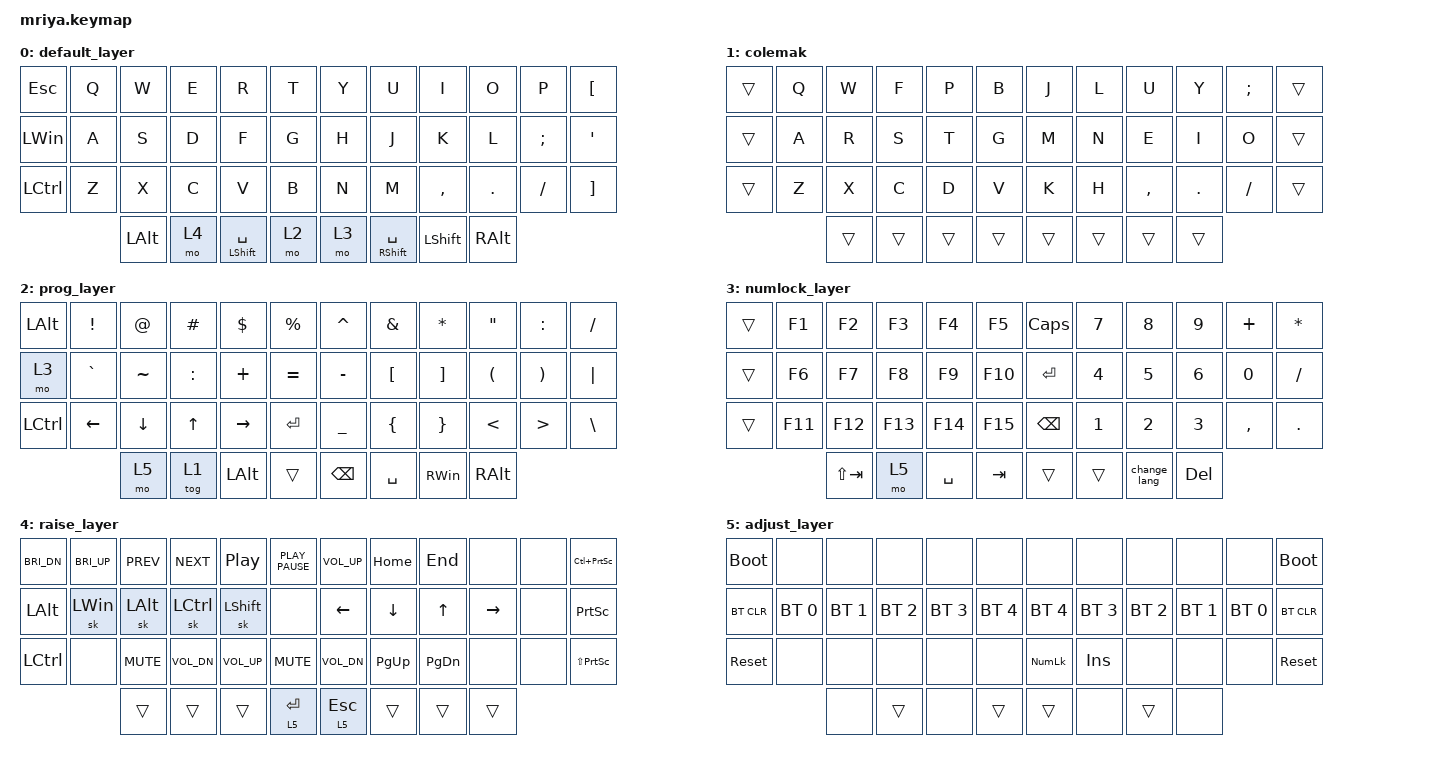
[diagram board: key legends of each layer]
/*
 * Copyright (c) 2023 Andrei Gaevskii
 *
 * SPDX-License-Identifier: MIT
 */

#include <behaviors.dtsi>
#include <dt-bindings/zmk/bt.h>
#include <dt-bindings/zmk/keys.h>

#define DEF 0
#define LWR 1
#define RSE 2
#define ADJ 3

&lt { quick_tap_ms = <200>; };

&mt { quick_tap_ms = <210>; };

/ {
    combos {
        compatible = "zmk,combos";

        lang_right {
            bindings = <&ch_lang_mac>;
            key-positions = <31 30>;
        };

        lang_left {
            bindings = <&ch_lang_mac>;
            key-positions = <28 29>;
        };

        enter_left {
            bindings = <&kp ENTER>;
            key-positions = <15 17>;
        };

        enter_right {
            bindings = <&kp ENTER>;
            key-positions = <20 18>;
        };

        undo {
            bindings = <&kp LG(Z)>;
            key-positions = <28 31>;
        };

        backspace_right {
            bindings = <&kp BACKSPACE>;
            key-positions = <26 27>;
        };

        redo {
            bindings = <&kp LG(LS(Z))>;
            key-positions = <27 32>;
        };

        delete_right {
            bindings = <&kp DELETE>;
            key-positions = <32 33>;
        };

        sk_shift {
            bindings = <&sk LEFT_SHIFT>;
            key-positions = <16 19>;
        };

        tab {
            bindings = <&kp TAB>;
            key-positions = <3 5>;
        };

        shift_tab {
            bindings = <&kp LS(TAB)>;
            key-positions = <2 4>;
        };

        win_change_lang {
            bindings = <&change_lang>;
            key-positions = <29 30>;
        };
    };

    macros {
        change_lang: change_lang {
            compatible = "zmk,behavior-macro";
            #binding-cells = <0>;
            bindings = <&kt LEFT_ALT &kp LEFT_SHIFT &kt LEFT_ALT &tog 1>;
            label = "CHANGE_LANG";
        };

        arrow_left: arrow_left {
            compatible = "zmk,behavior-macro";
            #binding-cells = <0>;
            bindings = <&kp LESS_THAN &kp MINUS>;
            label = "ARROW_LEFT";
        };

        arrow_right: arrow_right {
            compatible = "zmk,behavior-macro";
            #binding-cells = <0>;
            bindings = <&kp MINUS &kp GREATER_THAN>;
            label = "ARROW_RIGHT";
        };

        ch_lang_mac: ch_lang_mac {
            compatible = "zmk,behavior-macro";
            #binding-cells = <0>;
            bindings = <&kt LCTRL &kt LEFT_ALT &kp SPACE &kt LCTRL &kt LEFT_ALT &tog 1>;
            label = "CH_LANG_MAC";
        };
    };

    keymap {
        compatible = "zmk,keymap";

        default_layer {
            bindings = <
  &kp ESCAPE    &kp Q  &kp W         &kp E  &kp R             &kp T    &kp Y  &kp U             &kp I           &kp O          &kp P     &kp LBKT
  &kp LEFT_WIN  &kp A  &kp S         &kp D  &kp F             &kp G    &kp H  &kp J             &kp K           &kp L          &kp SEMI  &kp SQT
  &kp LCTRL     &kp Z  &kp X         &kp C  &kp V             &kp B    &kp N  &kp M             &kp COMMA       &kp DOT        &kp FSLH  &kp RIGHT_BRACKET
                       &kp LEFT_ALT  &mo 4  &mt LSHIFT SPACE  &mo 2    &mo 3  &mt RSHIFT SPACE  &kp LEFT_SHIFT  &kp RIGHT_ALT
            >;
        };

        colemak {
            bindings = <
  &trans  &kp Q  &kp W   &kp F   &kp P   &kp B     &kp J   &kp L   &kp U      &kp Y       &kp SEMICOLON  &trans
  &trans  &kp A  &kp R   &kp S   &kp T   &kp G     &kp M   &kp N   &kp E      &kp I       &kp O          &trans
  &trans  &kp Z  &kp X   &kp C   &kp D   &kp V     &kp K   &kp H   &kp COMMA  &kp PERIOD  &kp SLASH      &trans
                 &trans  &trans  &trans  &trans    &trans  &trans  &trans     &trans
            >;
        };

        prog_layer {
            bindings = <
  &kp LEFT_ALT  &kp EXCLAMATION  &kp AT     &kp HASH   &kp DLLR      &kp PRCNT    &kp CARET      &kp AMPERSAND  &kp ASTRK          &kp DQT        &kp COLON         &kp SLASH
  &mo 3         &kp GRAVE        &kp TILDE  &kp COLON  &kp PLUS      &kp EQUAL    &kp MINUS      &kp LBKT       &kp RIGHT_BRACKET  &kp LPAR       &kp RPAR          &kp PIPE
  &kp LCTRL     &kp LEFT         &kp DOWN   &kp UP     &kp RIGHT     &kp ENTER    &kp UNDER      &kp LBRC       &kp RBRC           &kp LT         &kp GREATER_THAN  &kp BACKSLASH
                                 &mo 5      &tog 1     &kp LEFT_ALT  &trans       &kp BACKSPACE  &kp SPACE      &kp RIGHT_WIN      &kp RIGHT_ALT
            >;
        };

        numlock_layer {
            bindings = <
  &trans  &kp F1   &kp F2       &kp F3   &kp F4     &kp F5     &kp CAPSLOCK   &kp N7  &kp N8        &kp N9   &kp PLUS   &kp ASTERISK
  &trans  &kp F6   &kp F7       &kp F8   &kp F9     &kp F10    &kp ENTER      &kp N4  &kp N5        &kp N6   &kp N0     &kp SLASH
  &trans  &kp F11  &kp F12      &kp F13  &kp F14    &kp F15    &kp BACKSPACE  &kp N1  &kp N2        &kp N3   &kp COMMA  &kp DOT
                   &kp LS(TAB)  &mo 5    &kp SPACE  &kp TAB    &trans         &trans  &change_lang  &kp DEL
            >;
        };

        raise_layer {
            bindings = <
  &kp C_BRI_DN  &kp C_BRI_UP  &kp C_PREV    &kp C_NEXT    &kp C_PLAY_PAUSE  &kp K_PLAY_PAUSE    &kp C_VOL_UP  &kp HOME   &kp END    &none      &none  &kp LC(PRINTSCREEN)
  &kp LEFT_ALT  &sk LEFT_WIN  &sk LEFT_ALT  &sk LCTRL     &sk LEFT_SHIFT    &none               &kp LEFT      &kp DOWN   &kp UP     &kp RIGHT  &none  &kp PRINTSCREEN
  &kp LCTRL     &none         &kp C_MUTE    &kp C_VOL_DN  &kp C_VOLUME_UP   &kp K_MUTE          &kp C_VOL_DN  &kp PG_UP  &kp PG_DN  &none      &none  &kp LS(PRINTSCREEN)
                              &trans        &trans        &trans            &lt 5 RET           &lt 5 ESC     &trans     &trans     &trans
            >;
        };

        adjust_layer {
            bindings = <
  &bootloader  &none         &none         &none         &none         &none           &none           &none         &none         &none         &none         &bootloader
  &bt BT_CLR   &bt BT_SEL 0  &bt BT_SEL 1  &bt BT_SEL 2  &bt BT_SEL 3  &bt BT_SEL 4    &bt BT_SEL 4    &bt BT_SEL 3  &bt BT_SEL 2  &bt BT_SEL 1  &bt BT_SEL 0  &bt BT_CLR
  &sys_reset   &none         &none         &none         &none         &none           &kp KP_NUMLOCK  &kp INSERT    &none         &none         &none         &sys_reset
                             &none         &trans        &none         &trans          &trans          &none         &trans        &none
            >;
        };
    };
};
